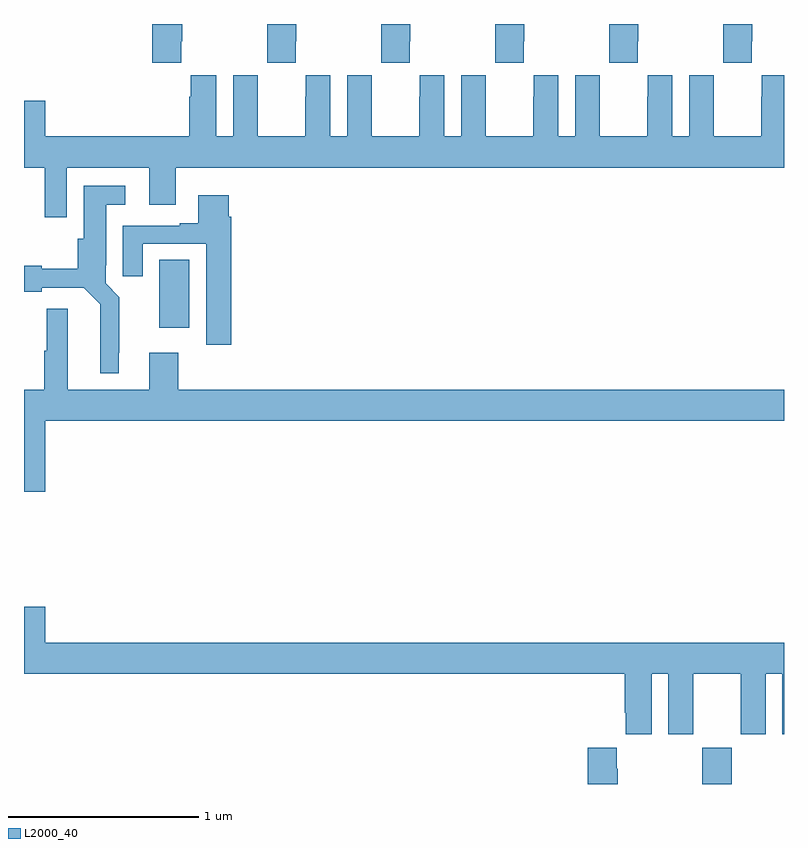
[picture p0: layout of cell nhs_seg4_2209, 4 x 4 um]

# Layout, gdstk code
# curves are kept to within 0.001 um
import gdstk
lib = gdstk.Library(unit=1e-6, precision=1e-09)
def R(c, l, rs):  # rectangles x0, y0, x1, y1
    for r in rs: c.add(gdstk.rectangle(r[:2], r[2:], *l))
def P(c, l, *ps):  # polygons
    for p in ps: c.add(gdstk.Polygon(p, *l))
L2000_40 = (2000, 40)

nhs_seg4_2209 = lib.new_cell('nhs_seg4_2209')
R(nhs_seg4_2209, L2000_40, [(228.571,802.9,228.726,803.092), (225.713,805.302,225.871,805.658)])
P(nhs_seg4_2209, L2000_40, [(225.827,806.809),(225.834,806.809),(225.834,806.9),(225.674,806.9),(225.674,806.697),(225.827,806.697)],
  [(226.431,806.809),(226.434,806.809),(226.434,806.9),(226.279,806.9),(226.279,806.809),(226.281,806.809),(226.281,806.697),(226.431,806.697)],
  [(227.031,806.809),(227.034,806.809),(227.034,806.9),(226.879,806.9),(226.879,806.809),(226.881,806.809),(226.881,806.697),(227.031,806.697)],
  [(227.631,806.809),(227.634,806.809),(227.634,806.9),(227.479,806.9),(227.479,806.809),(227.481,806.809),(227.481,806.697),(227.631,806.697)],
  [(228.231,806.809),(228.234,806.809),(228.234,806.9),(228.079,806.9),(228.079,806.809),(228.081,806.809),(228.081,806.697),(228.231,806.697)],
  [(228.831,806.809),(228.834,806.809),(228.834,806.9),(228.679,806.9),(228.679,806.809),(228.681,806.809),(228.681,806.697),(228.831,806.697)],
  [(225.225,806.144),(225.659,806.144),(225.659,805.95),(225.799,805.95),(225.799,806.144),(229,806.144),(229,806.629),(228.882,806.629),(228.882,806.516),(228.881,806.516),(228.881,806.308),(228.631,806.308),(228.631,806.516),(228.63,806.516),(228.63,806.629),(228.5,806.629),(228.5,806.308),(228.412,806.308),(228.412,806.629),(228.282,806.629),(228.282,806.516),(228.281,806.516),(228.281,806.308),(228.031,806.308),(228.031,806.516),(228.03,806.516),(228.03,806.629),(227.9,806.629),(227.9,806.308),(227.812,806.308),(227.812,806.629),(227.682,806.629),(227.682,806.516),(227.681,806.516),(227.681,806.308),(227.431,806.308),(227.431,806.516),(227.43,806.516),(227.43,806.629),(227.3,806.629),(227.3,806.308),(227.212,806.308),(227.212,806.629),(227.082,806.629),(227.082,806.516),(227.081,806.516),(227.081,806.308),(226.831,806.308),(226.831,806.516),(226.83,806.516),(226.83,806.629),(226.7,806.629),(226.7,806.308),(226.612,806.308),(226.612,806.629),(226.482,806.629),(226.482,806.516),(226.481,806.516),(226.481,806.308),(226.231,806.308),(226.231,806.516),(226.23,806.516),(226.23,806.629),(226.1,806.629),(226.1,806.308),(226.012,806.308),(226.012,806.629),(225.878,806.629),(225.878,806.516),(225.869,806.516),(225.869,806.308),(225.112,806.308),(225.112,806.497),(225,806.497),(225,806.144),(225.109,806.144),(225.109,805.884),(225.225,805.884)],
  [(225.499,805.171),(225.502,805.171),(225.502,805.463),(225.429,805.536),(225.429,805.63),(225.433,805.63),(225.433,805.949),(225.532,805.949),(225.532,806.05),(225.314,806.05),(225.314,805.77),(225.284,805.77),(225.284,805.613),(225.094,805.613),(225.094,805.628),(225,805.628),(225,805.492),(225.094,805.492),(225.094,805.512),(225.314,805.512),(225.402,805.424),(225.401,805.061),(225.499,805.061)],
  [(226.091,805.886),(226.078,805.886),(226.078,805.999),(225.917,805.999),(225.917,805.852),(225.821,805.852),(225.821,805.839),(225.521,805.839),(225.521,805.572),(225.625,805.572),(225.625,805.743),(225.959,805.743),(225.959,805.212),(226.091,805.212)],
  [(225.112,804.812),(229,804.812),(229,804.976),(225.812,804.976),(225.812,805.171),(225.659,805.171),(225.659,804.976),(225.229,804.976),(225.229,805.402),(225.119,805.402),(225.119,805.181),(225.107,805.181),(225.107,804.976),(225,804.976),(225,804.438),(225.112,804.438)],
  [(228.304,803.48),(228.392,803.48),(228.392,803.163),(228.523,803.163),(228.523,803.48),(228.773,803.48),(228.773,803.163),(228.904,803.163),(228.904,803.48),(228.992,803.48),(228.992,803.163),(229,803.163),(229,803.644),(225.112,803.644),(225.112,803.833),(225,803.833),(225,803.48),(228.161,803.48),(228.161,803.275),(228.167,803.275),(228.167,803.163),(228.304,803.163)],
  [(228.126,802.979),(228.121,802.979),(228.121,803.092),(227.966,803.092),(227.966,802.9),(228.126,802.9)])

lib.write_gds('nhs_seg4_2209.gds')
